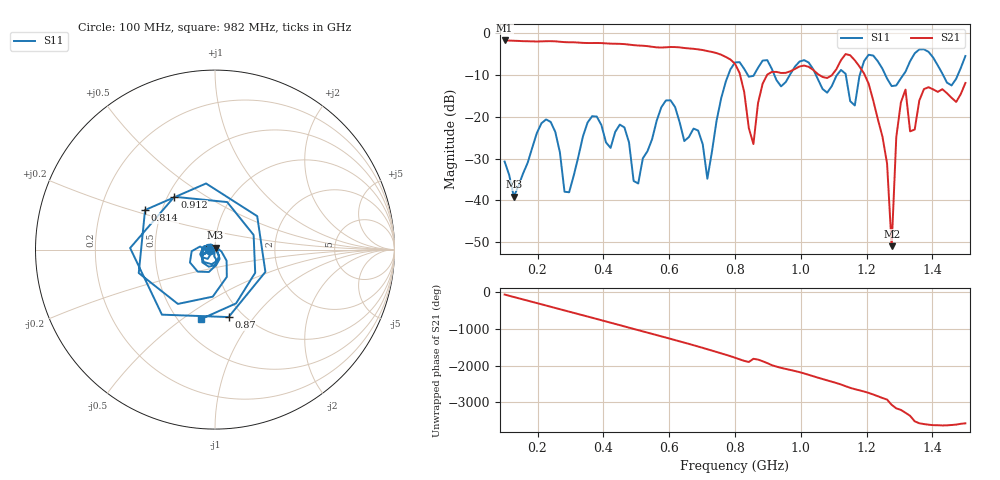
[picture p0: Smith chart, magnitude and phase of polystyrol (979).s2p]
! NanoVNA-App
! Date: 2025-09-25 15:37:30
! Start: 100MHz Stop: 1,5GHz Points: 101
! S-Parameter data: F S11 S21 S12 S22
# Hz S RI R 50
!  Frequency  S11_Real  S11_Imag  S21_Real  S21_Imag  S12_Real  S12_Imag  S22_Real  S22_Imag
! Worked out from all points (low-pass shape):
!   101 points, 100 MHz to 1.5 GHz, reference 50 ohm
!   highest |S21| = -1.80 dB at 100 MHz (marker M1); lowest = -50.9 dB at 1.276 GHz (marker M2)
!   |S21| within 3 dB of the highest: start of sweep to 743.1 MHz
!   lowest |S11| = -39.1 dB at 128 MHz (marker M3), VSWR 1.02, Z = 50.3 + j1.06 ohm
!   |S11| at or under -10 dB: start of sweep to 779.8 MHz; 1.046 GHz to 1.111 GHz (64.95 MHz wide, 6.03 % of centre); 1.257 GHz to 1.311 GHz (54.83 MHz wide, 4.27 % of centre) (the widest 3 of 7)
!   S12 and S22 are empty: the file has one direction only
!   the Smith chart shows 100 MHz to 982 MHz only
!   S11 on the Smith chart (normalised r, x): 100 MHz: 0.94, -0.01; 814 MHz: 0.40, +0.22; 870 MHz: 0.86, -0.76; 912 MHz: 0.54, +0.37; 982 MHz: 0.64, -0.59
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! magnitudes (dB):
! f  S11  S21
! 100 MHz  -30.7  -1.8
! 128 MHz  -39.1  -1.9
! 212 MHz  -21.6  -2.0
! 282 MHz  -37.9  -2.2
! 338 MHz  -24.7  -2.4
! 506 MHz  -36.0  -3.0
! 576 MHz  -17.8  -3.5
! 716 MHz  -34.8  -4.3
! 800 MHz  -7.0  -7.4
! 814 MHz  -7.0  -9.6
! 856 MHz  -10.3  -26.5
! 870 MHz  -8.3  -16.7
! 912 MHz  -8.6  -9.3
! 982 MHz  -8.1  -8.6
! 1.038 GHz  -8.7  -8.9
! 1.164 GHz  -17.3  -6.5
! 1.206 GHz  -5.2  -12.1
! 1.262 GHz  -10.9  -31.2
! 1.276 GHz  -12.7  -50.9
! 1.29 GHz  -12.5  -24.9
! 1.318 GHz  -9.3  -13.5
! 1.5 GHz  -5.5  -12.0
